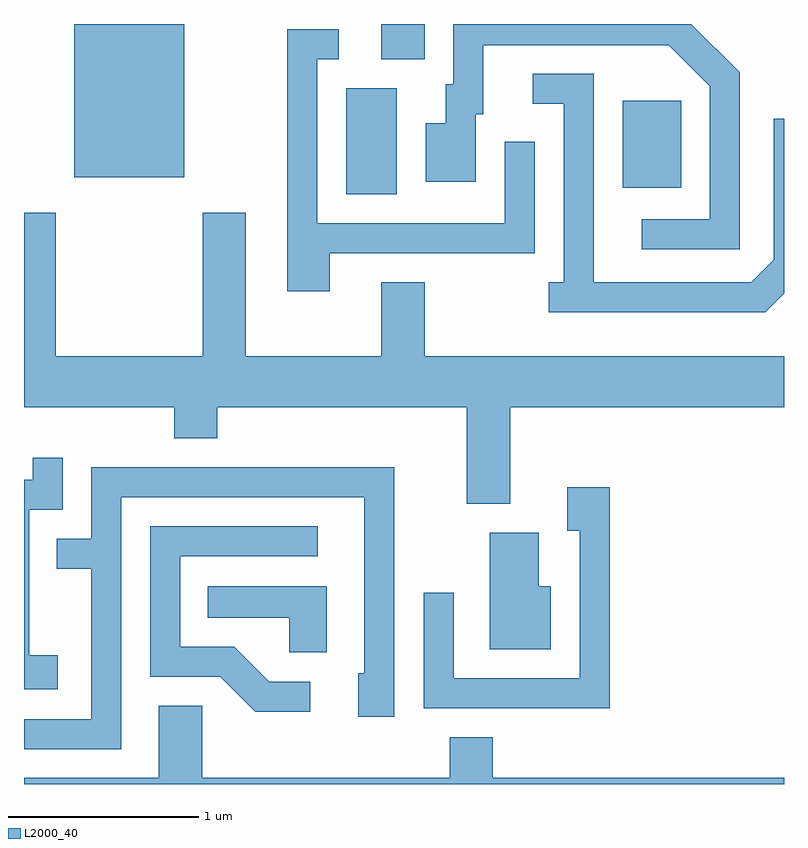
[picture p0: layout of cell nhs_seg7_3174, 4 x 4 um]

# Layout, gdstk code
import gdstk
lib = gdstk.Library(unit=1e-6, precision=1e-09)
def R(c, l, rs):  # rectangles x0, y0, x1, y1
    for r in rs: c.add(gdstk.rectangle(r[:2], r[2:], *l))
def P(c, l, *ps):  # polygons
    for p in ps: c.add(gdstk.Polygon(p, *l))
L2000_40 = (2000, 40)

nhs_seg7_3174 = lib.new_cell('nhs_seg7_3174')
R(nhs_seg7_3174, L2000_40, [(283.306,1795.356,283.574,1795.914), (284.761,1795.391,285.069,1795.849), (281.876,1795.446,282.454,1796.252), (283.491,1796.066,283.719,1796.252)])
P(nhs_seg7_3174, L2000_40, [(285.379,1795.997),(285.124,1796.252),(283.871,1796.252),(283.871,1795.934),(283.831,1795.934),(283.831,1795.729),(283.726,1795.729),(283.726,1795.421),(283.989,1795.421),(283.989,1795.776),(284.029,1795.776),(284.029,1796.141),(285.004,1796.141),(285.221,1795.924),(285.221,1795.224),(284.863,1795.224),(284.863,1795.066),(285.379,1795.066)],
  [(283.219,1795.046),(284.299,1795.046),(284.299,1795.633),(284.141,1795.633),(284.141,1795.204),(283.154,1795.204),(283.154,1796.066),(283.268,1796.066),(283.268,1796.224),(282.996,1796.224),(282.996,1794.846),(283.219,1794.846)],
  [(285.611,1794.835),(285.611,1795.753),(285.556,1795.753),(285.556,1795.012),(285.439,1794.894),(284.609,1794.894),(284.609,1795.989),(284.288,1795.989),(284.288,1795.831),(284.451,1795.831),(284.451,1794.894),(284.373,1794.894),(284.373,1794.736),(285.512,1794.736)],
  [(284.169,1794.236),(285.611,1794.236),(285.611,1794.504),(283.719,1794.504),(283.719,1794.894),(283.491,1794.894),(283.491,1794.504),(282.779,1794.504),(282.779,1795.259),(282.551,1795.259),(282.551,1794.504),(281.779,1794.504),(281.779,1795.259),(281.611,1795.259),(281.611,1794.236),(282.401,1794.236),(282.401,1794.071),(282.629,1794.071),(282.629,1794.236),(283.941,1794.236),(283.941,1793.726),(284.169,1793.726)],
  [(281.789,1792.929),(281.639,1792.929),(281.639,1793.696),(281.814,1793.696),(281.814,1793.968),(281.656,1793.968),(281.656,1793.854),(281.611,1793.854),(281.611,1792.751),(281.789,1792.751)],
  [(282.124,1793.761),(283.401,1793.761),(283.401,1792.834),(283.371,1792.834),(283.371,1792.606),(283.559,1792.606),(283.559,1793.919),(281.966,1793.919),(281.966,1793.544),(281.783,1793.544),(281.783,1793.386),(281.966,1793.386),(281.966,1792.594),(281.611,1792.594),(281.611,1792.436),(282.124,1792.436)],
  [(284.694,1793.814),(284.471,1793.814),(284.471,1793.586),(284.536,1793.586),(284.536,1792.809),(283.874,1792.809),(283.874,1793.258),(283.716,1793.258),(283.716,1792.651),(284.694,1792.651)],
  [(283.118,1792.789),(282.902,1792.789),(282.717,1792.974),(282.434,1792.974),(282.434,1793.451),(283.158,1793.451),(283.158,1793.609),(282.276,1793.609),(282.276,1792.816),(282.644,1792.816),(282.829,1792.631),(283.118,1792.631)],
  [(284.384,1793.294),(284.319,1793.294),(284.319,1793.574),(284.061,1793.574),(284.061,1792.961),(284.384,1792.961)],
  [(283.204,1793.294),(282.578,1793.294),(282.578,1793.126),(283.006,1793.126),(283.006,1792.946),(283.204,1792.946)],
  [(285.611,1792.284),(284.079,1792.284),(284.079,1792.499),(283.851,1792.499),(283.851,1792.284),(282.549,1792.284),(282.549,1792.664),(282.321,1792.664),(282.321,1792.284),(281.611,1792.284),(281.611,1792.252),(285.611,1792.252)])

lib.write_gds('nhs_seg7_3174.gds')
